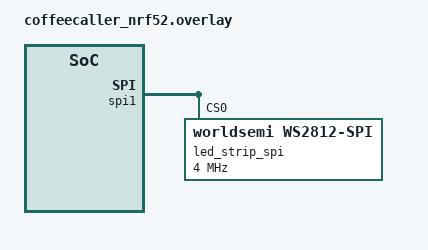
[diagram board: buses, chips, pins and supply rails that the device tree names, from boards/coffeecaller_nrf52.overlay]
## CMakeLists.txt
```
# SPDX-License-Identifier: Apache-2.0

cmake_minimum_required(VERSION 3.20.0)

include(${CMAKE_CURRENT_SOURCE_DIR}/../../../cmake/workshop_board.cmake)
find_package(Zephyr REQUIRED HINTS $ENV{ZEPHYR_BASE})
project(thread_telemetry)

# src/ holds the application scaffolding, and every module keeps its header
# next to its implementation.
zephyr_include_directories(
  src
  src/display
  src/env_sensor
  src/mesh
  src/node_name
  src/sensor_console
  src/telemetry
  )

target_sources(app PRIVATE src/main.c)
target_sources_ifdef(CONFIG_TELEMETRY_SHELL app PRIVATE src/app_shell.c)

# "telemetry status" is assembled by the linker out of whatever modules were
# built, rather than from a list in the command itself. See src/app_status.h.
zephyr_linker_sources(SECTIONS sections-rom.ld)
zephyr_iterable_section(NAME app_status_entry KVMA RAM_REGION GROUP RODATA_REGION)

# One directory per module, each with its own Kconfig and CMakeLists. A module
# that is switched off is not compiled at all, which is why the sources are
# listed per module rather than globbed. The order sets the order of the
# "telemetry status" lines.
add_subdirectory(src/env_sensor)
add_subdirectory_ifdef(CONFIG_TELEMETRY_NODE_NAME  src/node_name)
add_subdirectory_ifdef(CONFIG_TELEMETRY_SENSOR_CONSOLE src/sensor_console)
add_subdirectory_ifdef(CONFIG_TELEMETRY_DISPLAY    src/display)
add_subdirectory_ifdef(CONFIG_TELEMETRY_MESH       src/mesh)
add_subdirectory_ifdef(CONFIG_TELEMETRY_PUBLISH    src/telemetry)
add_subdirectory_ifdef(CONFIG_TELEMETRY_STATUS_LED src/status_led)
```

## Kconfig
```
# Copyright (c) 2026 TiaC Systems
# SPDX-License-Identifier: Apache-2.0

menu "Thread telemetry node"

config TELEMETRY_SHELL
	bool "Shell commands of the telemetry node"
	depends on SHELL
	default y
	help
	  Build the "telemetry" command tree. Every module keeps its shell
	  bindings in its own <module>_shell.c, and those files are compiled
	  only when this option is set, so the implementations stay free of
	  shell code.

rsource "src/env_sensor/Kconfig.env_sensor"
rsource "src/mesh/Kconfig.mesh"
rsource "src/node_name/Kconfig.node_name"
rsource "src/telemetry/Kconfig.telemetry"
rsource "src/display/Kconfig.display"
rsource "src/status_led/Kconfig.status_led"

module = TELEMETRY_APP
module-str = app
source "subsys/logging/Kconfig.template.log_config"

endmenu

menu "Zephyr Kernel"
source "Kconfig.zephyr"
endmenu
```

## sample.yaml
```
sample:
  name: thread telemetry node
  description: Publish SHT4x readings over CoAP on a pre-shared OpenThread mesh
common:
  # The sample reads the on-board SHT4x and needs an 802.15.4 radio, so it
  # only builds for the workshop board.
  integration_platforms:
    - coffeecaller_nrf52/nrf52840
  platform_allow:
    - coffeecaller_nrf52/nrf52840
  build_only: true
tests:
  # Without a suffix the sample is the skeleton -- a shell and the sensor, and
  # nothing that runs by itself. It is what a build with a forgotten
  # FILE_SUFFIX produces, so it is worth keeping compilable.
  sample.iot.thread_telemetry: {}
  # The three stages of the workshop. A module that is switched off is not
  # compiled, so each stage is a genuinely different image and worth building.
  sample.iot.thread_telemetry.sensor:
    extra_args:
      - FILE_SUFFIX=sensor
  sample.iot.thread_telemetry.display:
    extra_args:
      - FILE_SUFFIX=display
  sample.iot.thread_telemetry.mesh:
    extra_args:
      - FILE_SUFFIX=mesh
  # Nothing in the workshop builds without the shell, but the modules are
  # meant to survive it, so keep it covered on the full node.
  sample.iot.thread_telemetry.no_shell:
    extra_args:
      - FILE_SUFFIX=mesh
    extra_configs:
      - CONFIG_SHELL=n
      - CONFIG_OPENTHREAD_SHELL=n
      - CONFIG_OPENTHREAD_PING_SENDER=n
```

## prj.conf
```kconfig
# Copyright (c) 2026 TiaC Systems
# SPDX-License-Identifier: Apache-2.0

# ---------------------------------------------------------------------------
# Stage 0: the bare skeleton, and what you get without a FILE_SUFFIX.
#
# A shell, a log backend and the sensor driver -- nothing that runs on its
# own. Every stage of the workshop is one of the prj_<stage>.conf files next
# to this one, switched on with FILE_SUFFIX:
#
#   FILE_SUFFIX=sensor    stage 1  the reading on the console, and a name
#   FILE_SUFFIX=display   stage 2  plus the RGB LED strip
#   FILE_SUFFIX=mesh      stage 3  plus Thread and CoAP publishing
#
# Building without one is deliberately not the finished node: it is the
# starting point the stages add to. "telemetry sensor" reads the SHT4x on
# demand, and "telemetry status" prints the one line this build has.
# ---------------------------------------------------------------------------

# On-board SHT4x temperature and humidity sensor. The env_sensor module is the
# one module without a Kconfig switch -- every stage reads the sensor, so it is
# always compiled and its driver always has to be here.
CONFIG_SENSOR=y
CONFIG_I2C=y

# Shell: "telemetry status" and "telemetry sensor". Both are assembled by the
# linker out of the modules that were built, so they already work here with
# nothing but the sensor in the image.
CONFIG_SHELL=y

# Logging
CONFIG_LOG=y

# Nothing reads the sensor by itself yet. The periodic reading is what stage 1
# adds, so leave the console module out and use the shell instead.
CONFIG_TELEMETRY_SENSOR_CONSOLE=n

# Kernel. The SYS_INIT hooks of every module run on the main thread.
CONFIG_MAIN_STACK_SIZE=2048
```

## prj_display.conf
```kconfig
# Copyright (c) 2026 TiaC Systems
# SPDX-License-Identifier: Apache-2.0

# ---------------------------------------------------------------------------
# Workshop stage 2: stage 1 plus the RGB LED strip.
#
# Still no radio. CONFIG_LED_STRIP is what makes CONFIG_TELEMETRY_DISPLAY
# available, so the display module appears in menuconfig and is built.
# ---------------------------------------------------------------------------

# On-board SHT4x temperature and humidity sensor
CONFIG_SENSOR=y
CONFIG_I2C=y

# Persistent storage, used for the node name
CONFIG_FLASH=y
CONFIG_FLASH_MAP=y
CONFIG_NVS=y
CONFIG_SETTINGS=y

# RGB LED strip visualisation, and SW0 to switch between the two quantities
CONFIG_LED_STRIP=y
CONFIG_INPUT=y

# Shell: "telemetry display" switches quantity without reaching for SW0
CONFIG_SHELL=y

# Logging
CONFIG_LOG=y

# Kernel. The SYS_INIT hooks of every module run on the main thread, and the
# periodic read and the strip refresh run on the system workqueue.
CONFIG_MAIN_STACK_SIZE=2048
```

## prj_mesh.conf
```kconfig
# Copyright (c) 2026 TiaC Systems
# SPDX-License-Identifier: Apache-2.0

# ---------------------------------------------------------------------------
# Workshop stage 3: the whole node -- sensor, LED strip, Thread mesh and CoAP
# publishing. Selected with FILE_SUFFIX=mesh, like the two earlier stages with
# FILE_SUFFIX=sensor and FILE_SUFFIX=display; see "Workshop stages" in the
# sample documentation.
#
# This file is also the single source of truth for the Thread credentials: the
# collector bind-mounts it into the border router container and reads them
# straight out of it.
# ---------------------------------------------------------------------------

# ---------------------------------------------------------------------------
# Thread credentials
#
# WARNING: WORKSHOP CONFIGURATION, NOT FOR PRODUCTION.
#
# The network key below is compiled into every image and published in this
# repository. Anyone within radio range who has read this file can join the
# mesh, decrypt every frame and inject their own. That is deliberate here: it
# removes commissioning from the exercise so the demo comes up in seconds.
#
# A real deployment commissions each device instead -- Thread supports
# in-band joining (CONFIG_OPENTHREAD_JOINER with a per-device PSKd) and
# out-of-band provisioning of the operational dataset. The key is then unique
# per network and never leaves the commissioner.
# ---------------------------------------------------------------------------
CONFIG_OPENTHREAD_PANID=4660
CONFIG_OPENTHREAD_XPANID="11:11:11:11:22:22:22:22"
CONFIG_OPENTHREAD_NETWORKKEY="00:11:22:33:44:55:66:77:88:99:aa:bb:cc:dd:ee:ff"
CONFIG_OPENTHREAD_CHANNEL=15
CONFIG_OPENTHREAD_NETWORK_NAME="ZephyrWorkshop"

# Networking: OpenThread as the L2, full Thread device so the nodes form a
# real mesh and relay for each other instead of all talking to the router.
CONFIG_NETWORKING=y
CONFIG_NET_L2_OPENTHREAD=y
CONFIG_OPENTHREAD_FTD=y
CONFIG_OPENTHREAD_COAP=y
CONFIG_OPENTHREAD_SLAAC=y

# Persistent storage, used for the Thread dataset and for the node name
CONFIG_FLASH=y
CONFIG_FLASH_MAP=y
CONFIG_NVS=y
CONFIG_SETTINGS=y

# On-board SHT4x temperature and humidity sensor
CONFIG_SENSOR=y
CONFIG_I2C=y

# RGB LED strip visualisation, and SW0 to switch between the two quantities
CONFIG_LED_STRIP=y
CONFIG_INPUT=y

# Shell: participants set their node name here, and the OpenThread commands
# are handy for showing the mesh topology live.
CONFIG_SHELL=y
CONFIG_OPENTHREAD_SHELL=y
CONFIG_OPENTHREAD_PING_SENDER=y

# Logging. Every module registers its own log module, so each one has its own
# CONFIG_TELEMETRY_<module>_LOG_LEVEL and shows up under its own name in the
# log output. They all default to the global level, which is INF.
CONFIG_LOG=y

# Kernel. The SYS_INIT hooks of every module run on the main thread, and the
# publish work and the strip refresh share the system workqueue -- the CoAP
# path formats its JSON payload on that stack.
CONFIG_MAIN_STACK_SIZE=4096
CONFIG_SYSTEM_WORKQUEUE_STACK_SIZE=2048
```

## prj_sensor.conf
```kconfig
# Copyright (c) 2026 TiaC Systems
# SPDX-License-Identifier: Apache-2.0

# ---------------------------------------------------------------------------
# Workshop stage 1: read the on-board sensor and print the reading.
#
# No radio, no networking, no LED strip. The node is the environment sensor,
# the console log, the node name and the shell. Everything the application
# adds later is switched off by its own Kconfig option, because the subsystem
# it depends on is simply not here.
# ---------------------------------------------------------------------------

# On-board SHT4x temperature and humidity sensor
CONFIG_SENSOR=y
CONFIG_I2C=y

# Persistent storage, used for the node name
CONFIG_FLASH=y
CONFIG_FLASH_MAP=y
CONFIG_NVS=y
CONFIG_SETTINGS=y

# Shell: "telemetry status", "telemetry sensor", "telemetry name"
CONFIG_SHELL=y

# Logging
CONFIG_LOG=y

# Kernel. The SYS_INIT hooks of every module run on the main thread, and the
# periodic read runs on the system workqueue.
CONFIG_MAIN_STACK_SIZE=2048
```

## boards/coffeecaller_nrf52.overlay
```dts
/*
 * Copyright (c) 2026 TiaC Systems
 * SPDX-License-Identifier: Apache-2.0
 *
 * Drive the on-board WS2812 strip over SPI instead of bit-banged GPIO.
 * See the sample documentation for why.
 */

#include <zephyr/dt-bindings/led/led.h>
#include <zephyr/dt-bindings/pinctrl/nrf-pinctrl.h>

/* At 4 MHz one SPI bit is 250 ns, so 0x70 is 750 ns high and 0x40 is 250 ns. */
#define WS2812_SPI_FREQ   4000000
#define WS2812_ZERO_FRAME 0x40
#define WS2812_ONE_FRAME  0x70

/*
 * The strip data line. This is the pin the WS2812 chain is wired to.
 */
#define WS2812_MOSI_PORT 0
#define WS2812_MOSI_PIN  26

/*
 * SPIM will not clock without an SCK pin, so one has to be spent even though
 * the strip never sees it. P0.15 is a free pin on the 2x8 header of board
 * revision 1.0.x and is not routed at all on revision 0.9.0. Change this if
 * the header pin is needed for something else; any otherwise unused pin works,
 * and it carries a 4 MHz burst whenever the strip is refreshed.
 */
#define WS2812_SCK_PORT 0
#define WS2812_SCK_PIN  15

&led_strip {
	status = "disabled";
};

&pinctrl {
	spi1_ws2812: spi1_ws2812 {
		group1 {
			psels = <NRF_PSEL(SPIM_SCK, WS2812_SCK_PORT, WS2812_SCK_PIN)>,
				<NRF_PSEL(SPIM_MOSI, WS2812_MOSI_PORT, WS2812_MOSI_PIN)>;
		};
	};

	spi1_ws2812_sleep: spi1_ws2812_sleep {
		group1 {
			psels = <NRF_PSEL(SPIM_SCK, WS2812_SCK_PORT, WS2812_SCK_PIN)>,
				<NRF_PSEL(SPIM_MOSI, WS2812_MOSI_PORT, WS2812_MOSI_PIN)>;
			low-power-enable;
		};
	};
};

&spi1 {
	compatible = "nordic,nrf-spim";
	status = "okay";
	pinctrl-0 = <&spi1_ws2812>;
	pinctrl-1 = <&spi1_ws2812_sleep>;
	pinctrl-names = "default", "sleep";

	led_strip_spi: ws2812@0 {
		compatible = "worldsemi,ws2812-spi";
		reg = <0>;
		spi-max-frequency = <WS2812_SPI_FREQ>;

		chain-length = <4>;
		color-mapping = <LED_COLOR_ID_GREEN
				 LED_COLOR_ID_RED
				 LED_COLOR_ID_BLUE>;
		spi-one-frame = <WS2812_ONE_FRAME>;
		spi-zero-frame = <WS2812_ZERO_FRAME>;
	};
};

/ {
	aliases {
		led-strip = &led_strip_spi;
	};
};
```

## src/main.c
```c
/*
 * Copyright (c) 2026 TiaC Systems
 * SPDX-License-Identifier: Apache-2.0
 */

#include <zephyr/kernel.h>
#include <zephyr/logging/log.h>

LOG_MODULE_REGISTER(app, CONFIG_TELEMETRY_APP_LOG_LEVEL);

/*
 * Every module of this node brings itself up from its own SYS_INIT hook, so
 * there is deliberately nothing to start here -- see "Module layout" in the
 * sample documentation. main() only reports that the boot sequence finished.
 */
int main(void)
{
	LOG_INF("Thread telemetry node up on %s", CONFIG_BOARD_TARGET);

	return 0;
}
```

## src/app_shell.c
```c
/*
 * Copyright (c) 2026 TiaC Systems
 * SPDX-License-Identifier: Apache-2.0
 *
 * The root of the "telemetry" command tree. Every module fills it in from its
 * own <module>_shell.c, so this file knows about none of them.
 */

#include <zephyr/shell/shell.h>

#include "app_status.h"

SHELL_SUBCMD_SET_CREATE(telemetry_cmds, (telemetry));

static int cmd_status(const struct shell *sh, size_t argc, char **argv)
{
	ARG_UNUSED(argc);
	ARG_UNUSED(argv);

	STRUCT_SECTION_FOREACH(app_status_entry, entry) {
		entry->print(sh);
	}

	return 0;
}

SHELL_SUBCMD_ADD((telemetry), status, NULL, "Show what every module of this node is doing",
		 cmd_status, 1, 0);

SHELL_CMD_REGISTER(telemetry, &telemetry_cmds, "Thread telemetry node commands", NULL);
```

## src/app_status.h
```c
/*
 * Copyright (c) 2026 TiaC Systems
 * SPDX-License-Identifier: Apache-2.0
 */

#ifndef APP_STATUS_H
#define APP_STATUS_H

#include <zephyr/shell/shell.h>
#include <zephyr/sys/iterable_sections.h>

/**
 * @brief One line of the "telemetry status" output.
 *
 * The command keeps no list of modules to ask. The linker collects one of
 * these from every module that was built into the image, and the command
 * walks whatever it finds -- so a module that is switched off simply has no
 * line, with no conditional compilation anywhere.
 */
struct app_status_entry {
	/** Print this module's line, with @ref APP_STATUS_PRINT. */
	void (*print)(const struct shell *sh);
};

/**
 * @brief Contribute one line to "telemetry status".
 *
 * @param _name Unique name for the entry. The lines come out in alphabetical
 *              order of this name, which is why every module prefixes it with
 *              a letter.
 * @param _fn   Function printing the line.
 */
#define APP_STATUS_ENTRY_DEFINE(_name, _fn)                                                        \
	static const STRUCT_SECTION_ITERABLE(app_status_entry, _CONCAT(app_status_, _name)) = {     \
		.print = (_fn),                                                                    \
	}

/**
 * @brief Print one "<label> : <value>" line, aligned across all modules.
 *
 * Keep the label to nine characters, which is what the columns are padded to.
 */
#define APP_STATUS_PRINT(_sh, _label, _fmt, ...)                                                   \
	shell_print(_sh, "%-9s : " _fmt, _label, ##__VA_ARGS__)

#endif /* APP_STATUS_H */
```
